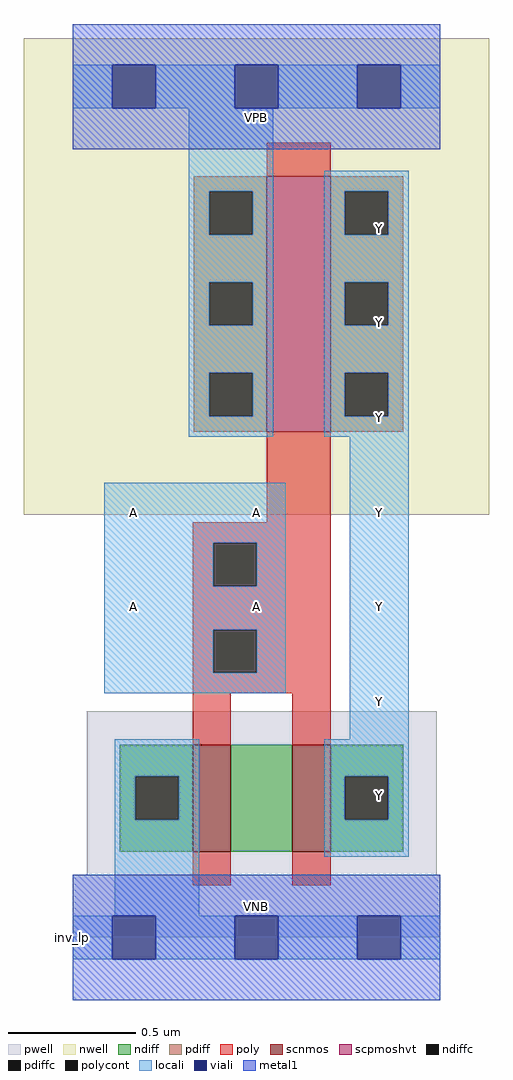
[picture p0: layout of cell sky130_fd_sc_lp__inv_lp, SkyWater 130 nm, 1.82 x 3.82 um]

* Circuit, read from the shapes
.subckt sky130_fd_sc_lp__inv_lp A VGND VNB VPB VPWR Y
XM1 n1 A VGND VNB sky130_fd_pr__nfet_01v8 w=0.42 l=0.15
XM2 Y A n1 VNB sky130_fd_pr__nfet_01v8 w=0.42 l=0.15
XM3 Y A VPWR VPB sky130_fd_pr__pfet_01v8_hvt w=1 l=0.25
.ends

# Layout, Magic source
magic
tech sky130A
magscale 1 2
<< nwell >>
rect -38 331 326 704
<< pwell >>
rect 11 49 285 177
rect 0 0 288 49
<< scnmos >>
rect 94 67 124 151
rect 172 67 202 151
<< scpmoshvt >>
rect 152 396 202 596
<< ndiff >>
rect 37 126 94 151
rect 37 92 49 126
rect 83 92 94 126
rect 37 67 94 92
rect 124 67 172 151
rect 202 126 259 151
rect 202 92 213 126
rect 247 92 259 126
rect 202 67 259 92
<< pdiff >>
rect 95 584 152 596
rect 95 550 107 584
rect 141 550 152 584
rect 95 513 152 550
rect 95 479 107 513
rect 141 479 152 513
rect 95 442 152 479
rect 95 408 107 442
rect 141 408 152 442
rect 95 396 152 408
rect 202 584 259 596
rect 202 550 213 584
rect 247 550 259 584
rect 202 513 259 550
rect 202 479 213 513
rect 247 479 259 513
rect 202 442 259 479
rect 202 408 213 442
rect 247 408 259 442
rect 202 396 259 408
<< ndiffc >>
rect 49 92 83 126
rect 213 92 247 126
<< pdiffc >>
rect 107 550 141 584
rect 107 479 141 513
rect 107 408 141 442
rect 213 550 247 584
rect 213 479 247 513
rect 213 408 247 442
<< poly >>
rect 152 596 202 622
rect 152 325 202 396
rect 94 309 202 325
rect 94 275 110 309
rect 144 275 202 309
rect 94 241 202 275
rect 94 207 110 241
rect 144 207 202 241
rect 94 191 202 207
rect 94 151 124 191
rect 172 151 202 191
rect 94 41 124 67
rect 172 41 202 67
<< polycont >>
rect 110 275 144 309
rect 110 207 144 241
<< locali >>
rect 0 649 31 683
rect 65 649 127 683
rect 161 649 223 683
rect 257 649 288 683
rect 91 584 157 649
rect 91 550 107 584
rect 141 550 157 584
rect 91 513 157 550
rect 91 479 107 513
rect 141 479 157 513
rect 91 442 157 479
rect 91 408 107 442
rect 141 408 157 442
rect 91 392 157 408
rect 197 584 263 600
rect 197 550 213 584
rect 247 550 263 584
rect 197 513 263 550
rect 197 479 213 513
rect 247 479 263 513
rect 197 442 263 479
rect 197 408 213 442
rect 247 408 263 442
rect 197 392 263 408
rect 25 309 167 356
rect 25 275 110 309
rect 144 275 167 309
rect 25 241 167 275
rect 25 207 110 241
rect 144 207 167 241
rect 25 191 167 207
rect 217 155 263 392
rect 33 126 99 155
rect 33 92 49 126
rect 83 92 99 126
rect 33 17 99 92
rect 197 126 263 155
rect 197 92 213 126
rect 247 92 263 126
rect 197 63 263 92
rect 0 -17 31 17
rect 65 -17 127 17
rect 161 -17 223 17
rect 257 -17 288 17
<< viali >>
rect 31 649 65 683
rect 127 649 161 683
rect 223 649 257 683
rect 31 -17 65 17
rect 127 -17 161 17
rect 223 -17 257 17
<< metal1 >>
rect 0 683 288 715
rect 0 649 31 683
rect 65 649 127 683
rect 161 649 223 683
rect 257 649 288 683
rect 0 617 288 649
rect 0 17 288 49
rect 0 -17 31 17
rect 65 -17 127 17
rect 161 -17 223 17
rect 257 -17 288 17
rect 0 -49 288 -17
<< labels >>
flabel pwell s 0 0 288 49 0 FreeSans 200 0 0 0 VNB
port 3 nsew ground bidirectional
flabel nwell s 0 617 288 666 0 FreeSans 200 0 0 0 VPB
port 4 nsew power bidirectional
rlabel comment s 0 0 0 0 4 inv_lp
flabel metal1 s 0 617 288 666 0 FreeSans 340 0 0 0 VPWR
port 5 nsew power bidirectional
flabel metal1 s 0 0 288 49 0 FreeSans 340 0 0 0 VGND
port 2 nsew ground bidirectional
flabel locali s 31 242 65 276 0 FreeSans 340 0 0 0 A
port 1 nsew signal input
flabel locali s 31 316 65 350 0 FreeSans 340 0 0 0 A
port 1 nsew signal input
flabel locali s 127 242 161 276 0 FreeSans 340 0 0 0 A
port 1 nsew signal input
flabel locali s 127 316 161 350 0 FreeSans 340 0 0 0 A
port 1 nsew signal input
flabel locali s 223 94 257 128 0 FreeSans 340 0 0 0 Y
port 6 nsew signal output
flabel locali s 223 168 257 202 0 FreeSans 340 0 0 0 Y
port 6 nsew signal output
flabel locali s 223 242 257 276 0 FreeSans 340 0 0 0 Y
port 6 nsew signal output
flabel locali s 223 316 257 350 0 FreeSans 340 0 0 0 Y
port 6 nsew signal output
flabel locali s 223 390 257 424 0 FreeSans 340 0 0 0 Y
port 6 nsew signal output
flabel locali s 223 464 257 498 0 FreeSans 340 0 0 0 Y
port 6 nsew signal output
flabel locali s 223 538 257 572 0 FreeSans 340 0 0 0 Y
port 6 nsew signal output
<< properties >>
string LEFsite unit
string LEFclass CORE
string FIXED_BBOX 0 0 288 666
string GDS_FILE $PDKPATH/libs.ref/sky130_fd_sc_lp/gds/sky130_fd_sc_lp.gds
string LEFsymmetry X Y R90
string GDS_END 4475432
string GDS_START 4471234
<< end >>
